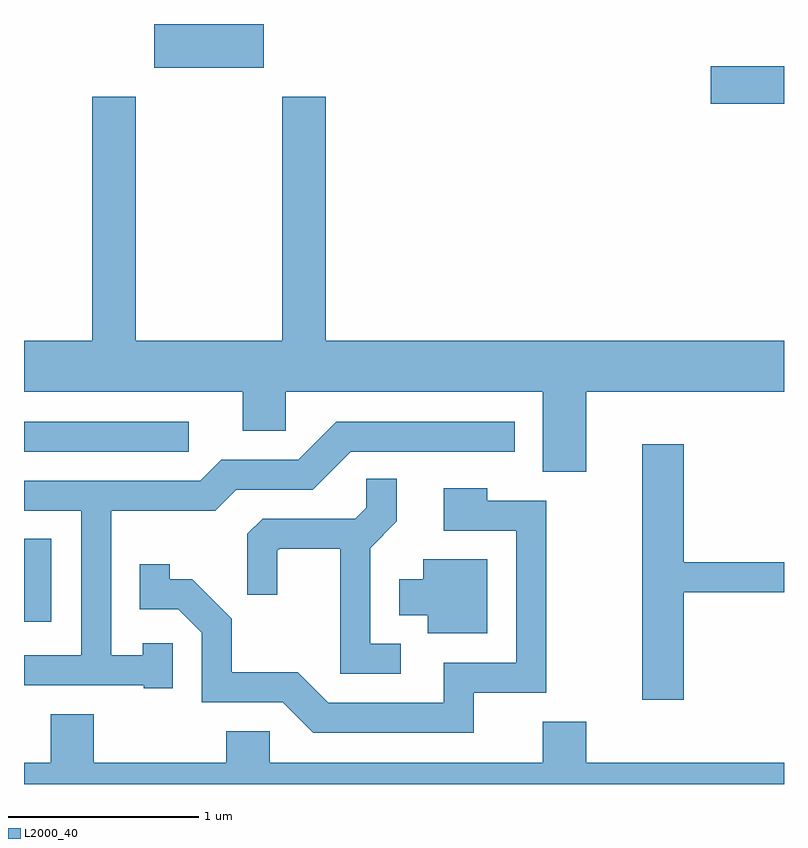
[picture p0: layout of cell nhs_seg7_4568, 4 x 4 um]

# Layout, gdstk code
import gdstk
lib = gdstk.Library(unit=1e-6, precision=1e-09)
def R(c, l, rs):  # rectangles x0, y0, x1, y1
    for r in rs: c.add(gdstk.rectangle(r[:2], r[2:], *l))
def P(c, l, *ps):  # polygons
    for p in ps: c.add(gdstk.Polygon(p, *l))
L2000_40 = (2000, 40)

nhs_seg7_4568 = lib.new_cell('nhs_seg7_4568')
R(nhs_seg7_4568, L2000_40, [(325.611,1713.106,325.754,1713.543), (325.611,1714.001,326.478,1714.159), (329.226,1715.831,329.611,1716.029), (326.296,1716.021,326.874,1716.252)])
P(nhs_seg7_4568, L2000_40, [(328.569,1714.316),(329.611,1714.316),(329.611,1714.584),(327.199,1714.584),(327.199,1715.869),(326.971,1715.869),(326.971,1714.584),(326.199,1714.584),(326.199,1715.869),(325.971,1715.869),(325.971,1714.584),(325.611,1714.584),(325.611,1714.316),(326.761,1714.316),(326.761,1714.111),(326.989,1714.111),(326.989,1714.316),(328.341,1714.316),(328.341,1713.896),(328.569,1713.896)],
  [(326.394,1712.993),(326.236,1712.993),(326.236,1712.929),(326.069,1712.929),(326.069,1713.691),(326.617,1713.691),(326.727,1713.801),(327.132,1713.801),(327.332,1714.001),(328.193,1714.001),(328.193,1714.159),(327.254,1714.159),(327.054,1713.959),(326.649,1713.959),(326.539,1713.849),(325.611,1713.849),(325.611,1713.691),(325.911,1713.691),(325.911,1712.929),(325.611,1712.929),(325.611,1712.771),(326.24,1712.771),(326.24,1712.756),(326.394,1712.756)],
  [(329.084,1713.261),(329.611,1713.261),(329.611,1713.419),(329.084,1713.419),(329.084,1714.039),(328.866,1714.039),(328.866,1712.696),(329.084,1712.696)],
  [(327.593,1712.989),(327.434,1712.989),(327.434,1713.494),(327.574,1713.634),(327.574,1713.858),(327.411,1713.858),(327.411,1713.707),(327.354,1713.649),(326.867,1713.649),(326.786,1713.569),(326.786,1713.248),(326.944,1713.248),(326.944,1713.479),(326.957,1713.491),(327.276,1713.491),(327.276,1712.831),(327.593,1712.831)],
  [(327.979,1712.731),(328.359,1712.731),(328.359,1713.744),(328.049,1713.744),(328.049,1713.809),(327.821,1713.809),(327.821,1713.586),(328.201,1713.586),(328.201,1712.889),(327.821,1712.889),(327.821,1712.679),(327.212,1712.679),(327.052,1712.839),(326.704,1712.839),(326.704,1713.122),(326.497,1713.329),(326.379,1713.329),(326.379,1713.408),(326.221,1713.408),(326.221,1713.171),(326.424,1713.171),(326.546,1713.049),(326.546,1712.681),(326.974,1712.681),(327.134,1712.521),(327.979,1712.521)],
  [(328.049,1713.434),(327.711,1713.434),(327.711,1713.329),(327.586,1713.329),(327.586,1713.141),(327.736,1713.141),(327.736,1713.046),(328.049,1713.046)],
  [(329.611,1712.364),(328.569,1712.364),(328.569,1712.579),(328.341,1712.579),(328.341,1712.364),(326.904,1712.364),(326.904,1712.529),(326.676,1712.529),(326.676,1712.364),(325.979,1712.364),(325.979,1712.619),(325.751,1712.619),(325.751,1712.364),(325.611,1712.364),(325.611,1712.252),(329.611,1712.252)])

lib.write_gds('nhs_seg7_4568.gds')
